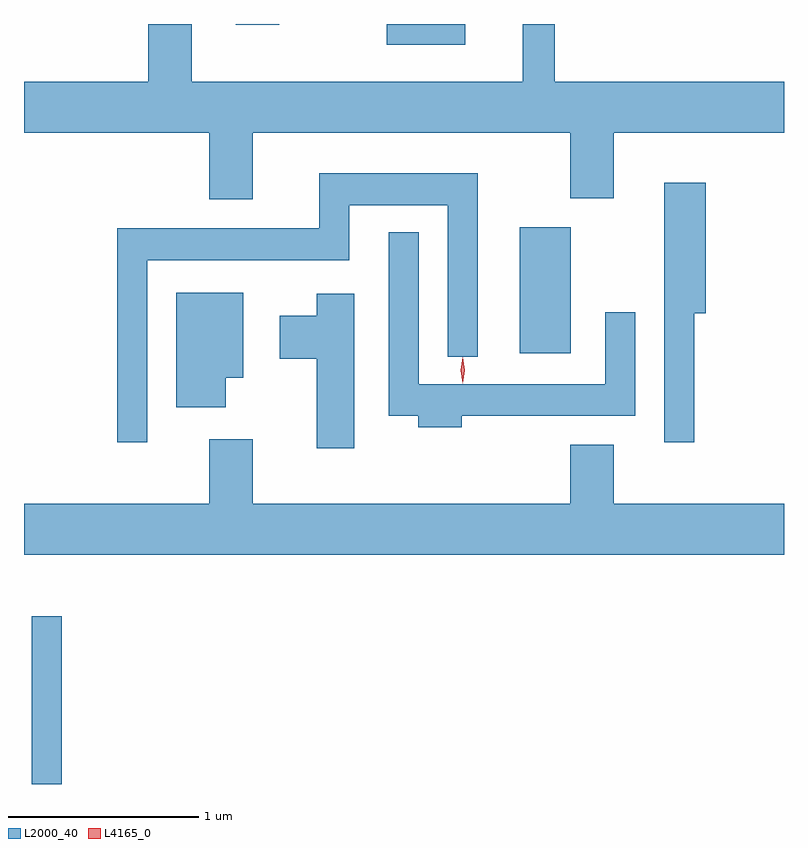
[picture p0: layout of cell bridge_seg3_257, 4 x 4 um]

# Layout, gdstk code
import gdstk
lib = gdstk.Library(unit=1e-6, precision=1e-09)
def R(c, l, rs):  # rectangles x0, y0, x1, y1
    for r in rs: c.add(gdstk.rectangle(r[:2], r[2:], *l))
def P(c, l, *ps):  # polygons
    for p in ps: c.add(gdstk.Polygon(p, *l))
L2000_40 = (2000, 40)
L4165_0 = (4165, 0)

bridge_seg3_257 = lib.new_cell('bridge_seg3_257')
R(bridge_seg3_257, L2000_40, [(1018.546,1115.929,1018.704,1116.813), (1021.116,1118.196,1021.384,1118.859), (1020.416,1119.821,1020.829,1119.929), (1019.621,1119.926,1019.849,1119.929)])
P(bridge_seg3_257, L2000_40, [(1019.709,1119.356),(1021.381,1119.356),(1021.381,1119.011),(1021.609,1119.011),(1021.609,1119.356),(1022.506,1119.356),(1022.506,1119.624),(1021.299,1119.624),(1021.299,1119.929),(1021.131,1119.929),(1021.131,1119.624),(1019.389,1119.624),(1019.389,1119.929),(1019.161,1119.929),(1019.161,1119.624),(1018.506,1119.624),(1018.506,1119.356),(1019.481,1119.356),(1019.481,1119.006),(1019.709,1119.006)],
  [(1019.154,1118.686),(1020.219,1118.686),(1020.219,1118.976),(1020.736,1118.976),(1020.736,1118.178),(1020.894,1118.178),(1020.894,1119.144),(1020.061,1119.144),(1020.061,1118.854),(1018.996,1118.854),(1018.996,1117.728),(1019.154,1117.728)],
  [(1022.034,1118.406),(1022.094,1118.406),(1022.094,1119.094),(1021.876,1119.094),(1021.876,1117.728),(1022.034,1117.728)],
  [(1020.809,1117.866),(1021.724,1117.866),(1021.724,1118.413),(1021.566,1118.413),(1021.566,1118.034),(1020.584,1118.034),(1020.584,1118.833),(1020.426,1118.833),(1020.426,1117.866),(1020.581,1117.866),(1020.581,1117.806),(1020.809,1117.806)],
  [(1019.569,1118.066),(1019.659,1118.066),(1019.659,1118.514),(1019.306,1118.514),(1019.306,1117.911),(1019.569,1117.911)],
  [(1020.244,1118.509),(1020.046,1118.509),(1020.046,1118.394),(1019.851,1118.394),(1019.851,1118.166),(1020.046,1118.166),(1020.046,1117.696),(1020.244,1117.696)],
  [(1022.506,1117.404),(1021.609,1117.404),(1021.609,1117.714),(1021.381,1117.714),(1021.381,1117.404),(1019.709,1117.404),(1019.709,1117.744),(1019.481,1117.744),(1019.481,1117.404),(1018.506,1117.404),(1018.506,1117.136),(1022.506,1117.136)])
P(bridge_seg3_257, L4165_0, [(1020.815,1118.037),(1020.814,1118.038),(1020.805,1118.107),(1020.814,1118.176),(1020.815,1118.176),(1020.815,1118.176),(1020.825,1118.107),(1020.815,1118.038)],
  [(1020.815,1118.039),(1020.814,1118.04),(1020.805,1118.106),(1020.814,1118.172),(1020.815,1118.173),(1020.815,1118.172),(1020.825,1118.106),(1020.815,1118.04)])

lib.write_gds('bridge_seg3_257.gds')
